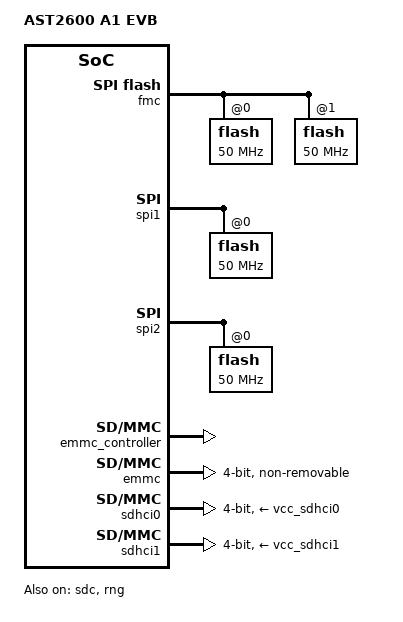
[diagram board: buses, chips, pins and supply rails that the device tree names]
// SPDX-License-Identifier: GPL-2.0-or-later
// Copyright 2021 IBM Corp.

#include "aspeed-ast2600-evb.dts"

/ {
	model = "AST2600 A1 EVB";
};

&fmc {
	/delete-property/ fmc-spi-user-mode;
	spi-dma-write;
	low-spi-clk-write;
	status = "okay";

	flash@0 {
		status = "okay";
		spi-max-frequency = <50000000>;
		spi-tx-bus-width = <1>;
		spi-rx-bus-width = <4>;
	};

	flash@1 {
		status = "okay";
		spi-max-frequency = <50000000>;
		spi-tx-bus-width = <1>;
		spi-rx-bus-width = <4>;
	};

	flash@2 {
		status = "disabled";
		spi-max-frequency = <50000000>;
		spi-tx-bus-width = <1>;
		spi-rx-bus-width = <4>;
	};
};

&spi1 {
	/delete-property/ fmc-spi-user-mode;
	spi-dma-write;
	low-spi-clk-write;
	status = "okay";

	flash@0 {
		status = "okay";
		spi-max-frequency = <50000000>;
		spi-tx-bus-width = <1>;
		spi-rx-bus-width = <4>;
	};

	flash@1 {
		status = "disabled";
		spi-max-frequency = <50000000>;
		spi-tx-bus-width = <1>;
		spi-rx-bus-width = <4>;
	};
};

&spi2 {
	/delete-property/ fmc-spi-user-mode;
	spi-dma-write;
	low-spi-clk-write;
	status = "okay";

	flash@0 {
		status = "okay";
		spi-max-frequency = <50000000>;
		spi-tx-bus-width = <1>;
		spi-rx-bus-width = <4>;
	};

	flash@1 {
		status = "disabled";
		spi-max-frequency = <50000000>;
		spi-tx-bus-width = <1>;
		spi-rx-bus-width = <4>;
	};

	flash@2 {
		status = "disabled";
		spi-max-frequency = <50000000>;
		spi-tx-bus-width = <1>;
		spi-rx-bus-width = <4>;
	};
};


&emmc_controller {
	status = "okay";
	aspeed-max-tap-delay = <706>;
	mmc-hs200-1_8v;
};

&emmc {
	status = "okay";
#if 1
	bus-width = <4>;
#else
	bus-width = <8>;
	pinctrl-0 = <&pinctrl_emmc_default
			&pinctrl_emmcg8_default>;
#endif
	non-removable;
	max-frequency = <100000000>;
	/* <0 (MHz * 0.12708)>, <1 (MHz * 0.12708 + 180)> */
	clk-phase-mmc-hs200 = <0 13>, <1 193>;
	/*
	 * max-frequency = <200000000>;
	 * clk-phase-mmc-hs200 = <0 26>, <1 206>;
	 */
};

&sdc {
	status = "okay";
	aspeed-max-tap-delay = <9000>;
};

&sdhci0 {
	status = "okay";
	bus-width = <4>;
	max-frequency = <100000000>;
	sdhci-drive-type = /bits/ 8 <3>;
	/* SDR104/DDR50 bits in CAPA2 are not supported.
	 * SDMA and ADMA are also not supported.
	 */
	sdhci-caps-mask = <0x6 0x580000>;
	sdhci,wp-inverted;
	vmmc-supply = <&vcc_sdhci0>;
	vqmmc-supply = <&vccq_sdhci0>;
	/* <0 (MHz * 1.296)>, <1 (MHz * 3.24 + 180)> */
	clk-phase-uhs-sdr50 = <0 130>, <1 504>;
};

&sdhci1 {
	status = "okay";
	bus-width = <4>;
	max-frequency = <100000000>;
	sdhci-drive-type = /bits/ 8 <3>;
	/* SDR104/DDR50 bits in CAPA2 are not supported.
	 * SDMA and ADMA are also not supported.
	 */
	sdhci-caps-mask = <0x6 0x580000>;
	sdhci,wp-inverted;
	vmmc-supply = <&vcc_sdhci1>;
	vqmmc-supply = <&vccq_sdhci1>;
	/* <0 (MHz * 1.296)>, <1 (MHz * 3.24 + 180)> */
	clk-phase-uhs-sdr50 = <0 130>, <1 504>;
};

&rng {
	status = "okay";
};
